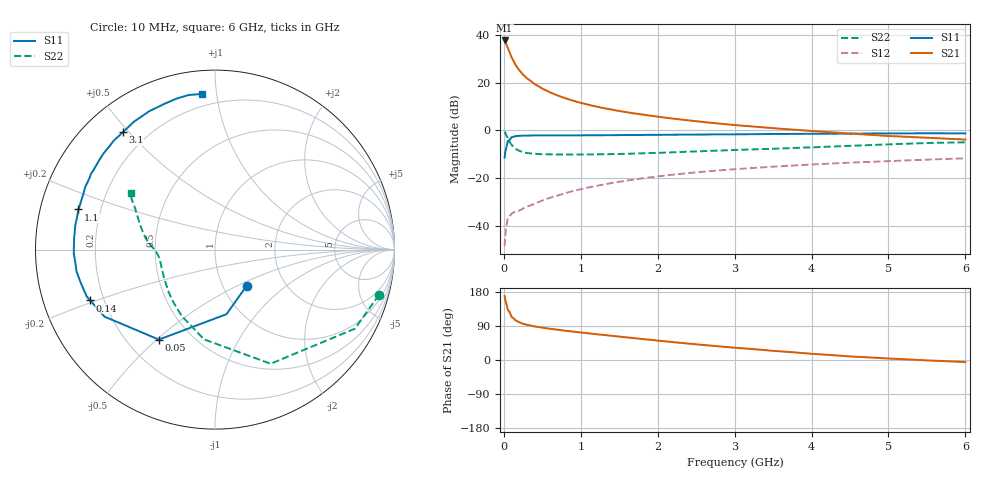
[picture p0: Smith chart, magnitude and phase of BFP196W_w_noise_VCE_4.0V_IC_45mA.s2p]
! (c) 2017  Infineon Technologies AG, Munich
! Infineon Technologies  Discrete & RF Semiconductors
! BFP196W
! VCE =  4.0 V,  IC =  45 mA
! Common Emitter S-Parameters:  Jan 2017
# GHz  S  MA  R  50
!  f  S11  S21  S12  S22
! GHz  MAG  ANG  MAG  ANG  MAG  ANG  MAG  ANG
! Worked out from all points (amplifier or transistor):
!   77 points, 10 MHz to 6 GHz, reference 50 ohm
!   highest |S21| = 37.8 dB at 10 MHz (marker M1)
!   |S21| within 3 dB of that: start of sweep to 49.76 MHz
!   unconditionally stable (mu >= 1): 671.6 MHz to 3.318 GHz
!   at 130 MHz: K = 0.41, MSG = 31.7 dB, |S12| = -34.4 dB
!   at 2.2 GHz: K = 1.04, MAG = 10.6 dB, |S12| = -18.6 dB
!   at 6 GHz: K = 0.95, MSG = 3.9 dB, |S12| = -11.7 dB
!   lowest NFmin = 1.31 dB at 450 MHz
!   S11 on the Smith chart (normalised r, x): 10 MHz: 1.30, -0.56; 50 MHz: 0.33, -0.51; 140 MHz: 0.15, -0.19; 1.1 GHz: 0.12, +0.14; 3.1 GHz: 0.11, +0.48; 6 GHz: 0.13, +0.91
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0.01  0.2675 -48.4  78.04 168.8  0.0037 79.1  0.9484 -15.4
0.02  0.3655 -79.9  73.31 157.2  0.0067 77.4  0.8952 -29.5
0.05  0.5912 -122.0  55.14 133.1  0.0139 51.7  0.7077 -64.0
0.1  0.7203 -148.8  34.41 113.8  0.0178 41.2  0.5037 -97.0
0.14  0.7505 -157.8  26.23 107.3  0.0195 40.6  0.4276 -112.0
0.15  0.7608 -159.9  24.25 105.0  0.0199 40.5  0.4141 -116.5
0.2  0.7709 -166.3  18.52 99.5  0.0207 42.6  0.3738 -128.4
0.25  0.7805 -170.8  14.95 95.6  0.0229 44.6  0.3507 -137.3
0.3  0.7813 -173.9  12.51 92.9  0.025 46.3  0.3366 -143.3
0.4  0.7871 -178.6  9.466 88.5  0.0287 51.6  0.3238 -151.8
0.5  0.7865 177.9  7.583 85.3  0.0337 54.7  0.317 -157.2
0.6  0.7873 175.1  6.34 82.4  0.0386 56.3  0.315 -160.9
0.7  0.7876 172.5  5.431 79.9  0.0428 59.5  0.3122 -163.9
0.9  0.7892 167.8  4.223 74.9  0.0535 60.7  0.3127 -167.8
1.1  0.7931 163.6  3.478 70.5  0.0634 61.6  0.314 -170.7
1.3  0.7939 159.5  2.948 66.1  0.073 61.5  0.3164 -173.0
1.5  0.7986 155.9  2.567 61.8  0.0833 60.6  0.3213 -175.4
2.1  0.8114 144.6  1.862 49.2  0.1131 57.0  0.3431 178.8
3.1  0.8315 128.2  1.262 30.9  0.1572 48.5  0.3937 170.1
4.1  0.854 114.2  0.953 15.1  0.1962 40.2  0.4483 160.2
5.1  0.8689 103.3  0.753 3.0  0.2303 32.2  0.5173 151.0
6  0.8704 94.9  0.644 -5.4  0.2598 25.1  0.5644 146.2
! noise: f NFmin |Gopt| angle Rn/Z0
0.45  1.31  0.5  -177  0.05
0.9  1.44  0.54  -172  0.07
1.9  2.26  0.69  -150  0.15
2.4  2.66  0.73  -145  0.25
